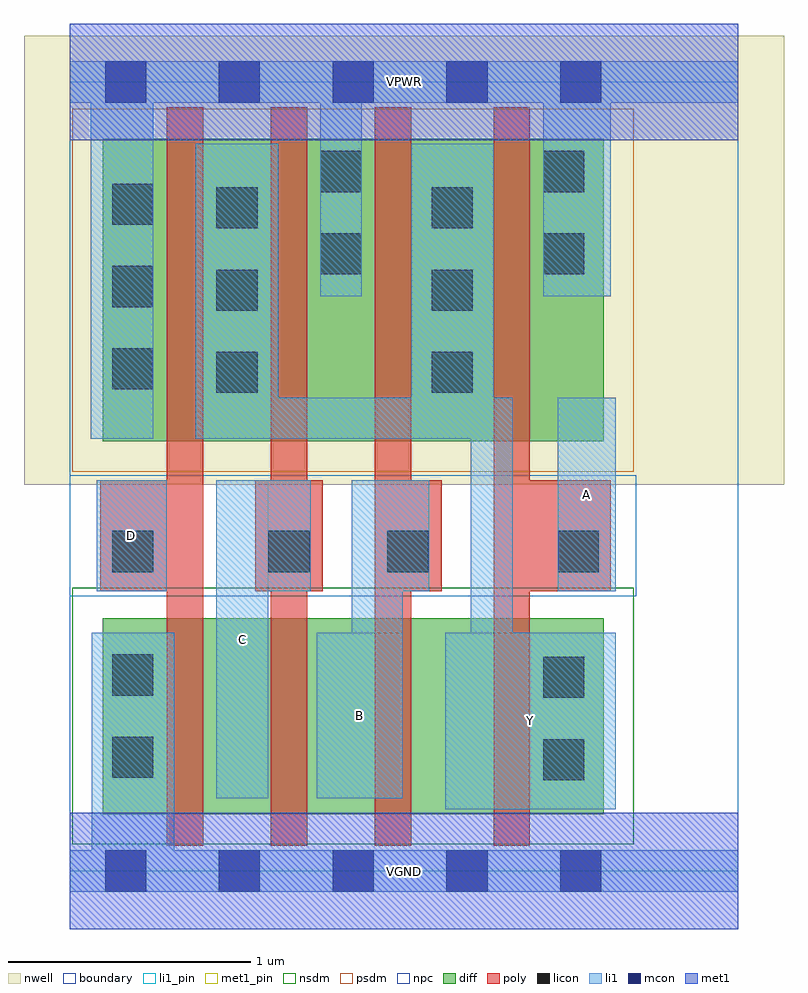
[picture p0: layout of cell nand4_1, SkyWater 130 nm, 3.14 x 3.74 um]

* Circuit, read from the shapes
.subckt nand4_1 A B C D VGND VPWR Y
XM1 n1 D VGND VSUBS sky130_fd_pr__nfet_01v8 w=0.81 l=0.15
XM2 n2 C n1 VSUBS sky130_fd_pr__nfet_01v8 w=0.81 l=0.15
XM3 n3 B n2 VSUBS sky130_fd_pr__nfet_01v8 w=0.81 l=0.15
XM4 Y A n3 VSUBS sky130_fd_pr__nfet_01v8 w=0.81 l=0.15
XM5 Y D VPWR n4 sky130_fd_pr__pfet_01v8 w=1.25 l=0.15
XM6 VPWR C Y n4 sky130_fd_pr__pfet_01v8 w=1.25 l=0.15
XM7 Y B VPWR n4 sky130_fd_pr__pfet_01v8 w=1.25 l=0.15
XM8 VPWR A Y n4 sky130_fd_pr__pfet_01v8 w=1.25 l=0.15
.ends

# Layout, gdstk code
import gdstk
lib = gdstk.Library(unit=1e-6, precision=1e-09)
def R(c, l, rs):  # rectangles x0, y0, x1, y1
    for r in rs: c.add(gdstk.rectangle(r[:2], r[2:], *l))
def A(c, l, x, y, w, h, nx, ny, dx, dy):  # array of equal rectangles
    R(c, l, [(x+i*dx, y+j*dy, x+i*dx+w, y+j*dy+h) for i in range(nx) for j in range(ny)])
nwell = (64, 20)
diff = (65, 20)
poly = (66, 20)
licon = (66, 44)
li1_pin = (67, 16)
li1 = (67, 20)
mcon = (67, 44)
met1_pin = (68, 16)
met1 = (68, 20)
nsdm = (93, 44)
psdm = (94, 20)
npc = (95, 20)
boundary = (235, 4)

nand4_1 = lib.new_cell('nand4_1')
R(nand4_1, nwell, [(-0.19,1.595,2.95,3.45), (0,1.595,2.76,3.45)])
R(nand4_1, diff, [(0.135,0.235,2.205,1.045), (0.135,1.775,2.205,3.025)])
A(nand4_1, poly, 0.4, 0.105, 0.15, 3.05, 3, 1, 0.43, 0)
R(nand4_1, poly, [(1.75,0.105,1.9,3.155), (0.125,1.155,0.55,1.615), (0.765,1.155,1.045,1.615), (1.26,1.155,1.535,1.615), (1.75,1.155,2.235,1.615)])
A(nand4_1, licon, 0.605, 1.975, 0.17, 0.17, 1, 3, 0, 0.34)
A(nand4_1, licon, 1.495, 1.975, 0.17, 0.17, 1, 3, 0, 0.34)
A(nand4_1, licon, 0.175, 1.99, 0.17, 0.17, 1, 3, 0, 0.34)
R(nand4_1, licon, [(1.955,0.375,2.125,0.545), (0.175,0.385,0.345,0.555), (1.955,0.715,2.125,0.885), (0.175,0.725,0.345,0.895), (0.175,1.235,0.345,1.405), (0.82,1.235,0.99,1.405), (1.31,1.235,1.48,1.405), (2.015,1.235,2.185,1.405), (1.035,2.465,1.205,2.635), (1.955,2.465,2.125,2.635), (1.035,2.805,1.205,2.975), (1.955,2.805,2.125,2.975)])
R(nand4_1, li1_pin, [(1.55,0.255,2.255,0.985), (0.605,0.3,0.82,1.615), (1.02,0.3,1.375,0.985), (0.11,1.155,0.4,1.615), (2.015,1.155,2.255,1.955)])
R(nand4_1, li1, [(0,-0.085,2.76,0.085), (0.09,-0.085,0.43,0.985), (1.55,0.255,2.255,0.985), (1.655,0.255,1.83,1.955), (0.605,0.3,0.82,1.615), (1.02,0.3,1.375,0.985), (1.165,0.3,1.375,1.615), (0.11,1.155,0.4,1.615), (0.605,1.155,0.995,1.615), (1.165,1.155,1.485,1.615), (2.015,1.155,2.255,1.955), (0.085,1.785,0.345,3.345), (0.52,1.785,0.86,3.005), (0.52,1.785,1.83,1.955), (1.41,1.785,1.75,3.005), (1.035,2.375,1.205,3.345), (1.955,2.375,2.235,3.345), (0,3.175,2.76,3.345)])
A(nand4_1, mcon, 0.145, -0.085, 0.17, 0.17, 5, 2, 0.47, 3.26)
R(nand4_1, met1_pin, [(0,-0.24,2.76,0.24), (0,3.02,2.76,3.5)])
R(nand4_1, met1, [(0,-0.24,2.76,0.24), (0,3.02,2.76,3.5)])
R(nand4_1, nsdm, [(0.01,0.11,2.33,1.17)])
R(nand4_1, psdm, [(0.01,1.65,2.33,3.15)])
R(nand4_1, npc, [(0,1.135,2.34,1.635)])
R(nand4_1, boundary, [(0,0,2.76,3.26)])
nand4_1.add(gdstk.Label('A', (2.135,1.555), layer=67, texttype=5))
nand4_1.add(gdstk.Label('B', (1.197,0.642), layer=67, texttype=5))
nand4_1.add(gdstk.Label('C', (0.712,0.957), layer=67, texttype=5))
nand4_1.add(gdstk.Label('D', (0.255,1.385), layer=67, texttype=5))
nand4_1.add(gdstk.Label('Y', (1.902,0.62), layer=67, texttype=5))
nand4_1.add(gdstk.Label('VPWR', (1.38,3.26), layer=68, texttype=5))
nand4_1.add(gdstk.Label('VGND', (1.38,0), layer=68, texttype=5))
nand4_1.add(gdstk.Label('A', (2.135,1.555), layer=67, texttype=16))
nand4_1.add(gdstk.Label('B', (1.197,0.642), layer=67, texttype=16))
nand4_1.add(gdstk.Label('C', (0.712,0.957), layer=67, texttype=16))
nand4_1.add(gdstk.Label('D', (0.255,1.385), layer=67, texttype=16))
nand4_1.add(gdstk.Label('Y', (1.902,0.62), layer=67, texttype=16))
nand4_1.add(gdstk.Label('VPWR', (1.38,3.26), layer=68, texttype=16))
nand4_1.add(gdstk.Label('VGND', (1.38,0), layer=68, texttype=16))

lib.write_gds('nand4_1.gds')
